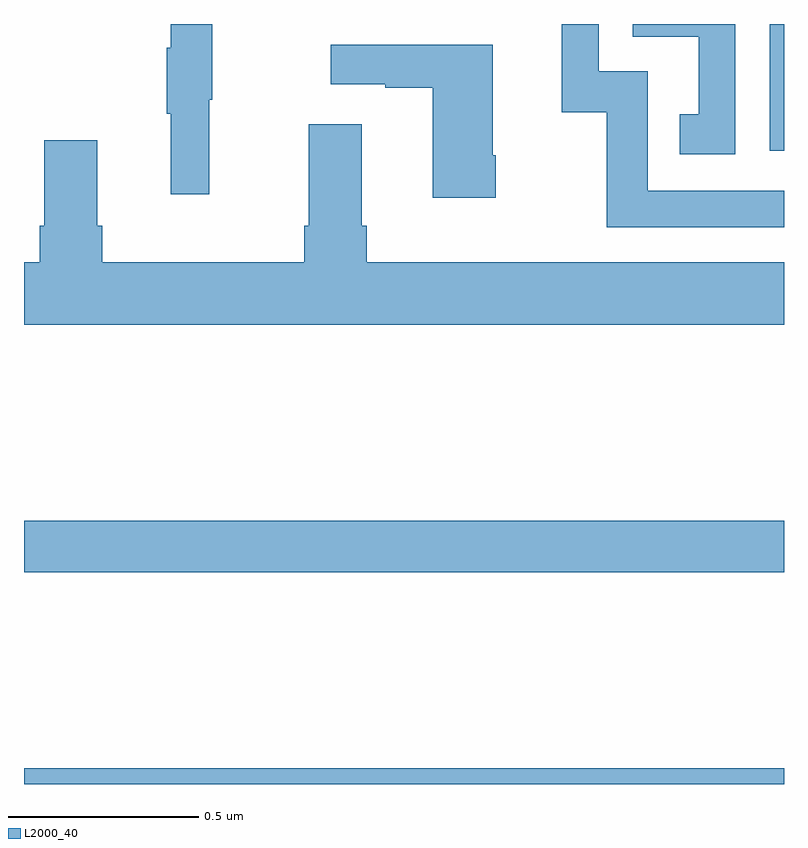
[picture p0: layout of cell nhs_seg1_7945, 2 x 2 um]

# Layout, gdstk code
import gdstk
lib = gdstk.Library(unit=1e-6, precision=1e-09)
def R(c, l, rs):  # rectangles x0, y0, x1, y1
    for r in rs: c.add(gdstk.rectangle(r[:2], r[2:], *l))
def P(c, l, *ps):  # polygons
    for p in ps: c.add(gdstk.Polygon(p, *l))
L2000_40 = (2000, 40)

nhs_seg1_7945 = lib.new_cell('nhs_seg1_7945')
R(nhs_seg1_7945, L2000_40, [(210,541.199,212,541.24), (210,541.756,212,541.892), (211.962,542.865,212,543.199)])
P(nhs_seg1_7945, L2000_40, [(210.488,543),(210.496,543),(210.496,543.199),(210.386,543.199),(210.386,543.137),(210.375,543.137),(210.375,542.963),(210.386,542.963),(210.386,542.751),(210.488,542.751)],
  [(212,542.76),(211.641,542.76),(211.641,543.075),(211.512,543.075),(211.512,543.199),(211.415,543.199),(211.415,542.967),(211.533,542.967),(211.533,542.664),(212,542.664)],
  [(211.872,543.199),(211.602,543.199),(211.602,543.165),(211.775,543.165),(211.775,542.961),(211.726,542.961),(211.726,542.856),(211.872,542.856)],
  [(211.242,542.854),(211.234,542.854),(211.234,543.145),(210.807,543.145),(210.807,543.041),(210.95,543.041),(210.95,543.031),(211.076,543.031),(211.076,542.742),(211.242,542.742)],
  [(212,542.572),(210.902,542.572),(210.902,542.668),(210.889,542.668),(210.889,542.935),(210.749,542.935),(210.749,542.668),(210.737,542.668),(210.737,542.572),(210.206,542.572),(210.206,542.668),(210.193,542.668),(210.193,542.893),(210.053,542.893),(210.053,542.668),(210.041,542.668),(210.041,542.572),(210,542.572),(210,542.408),(212,542.408)])

lib.write_gds('nhs_seg1_7945.gds')
